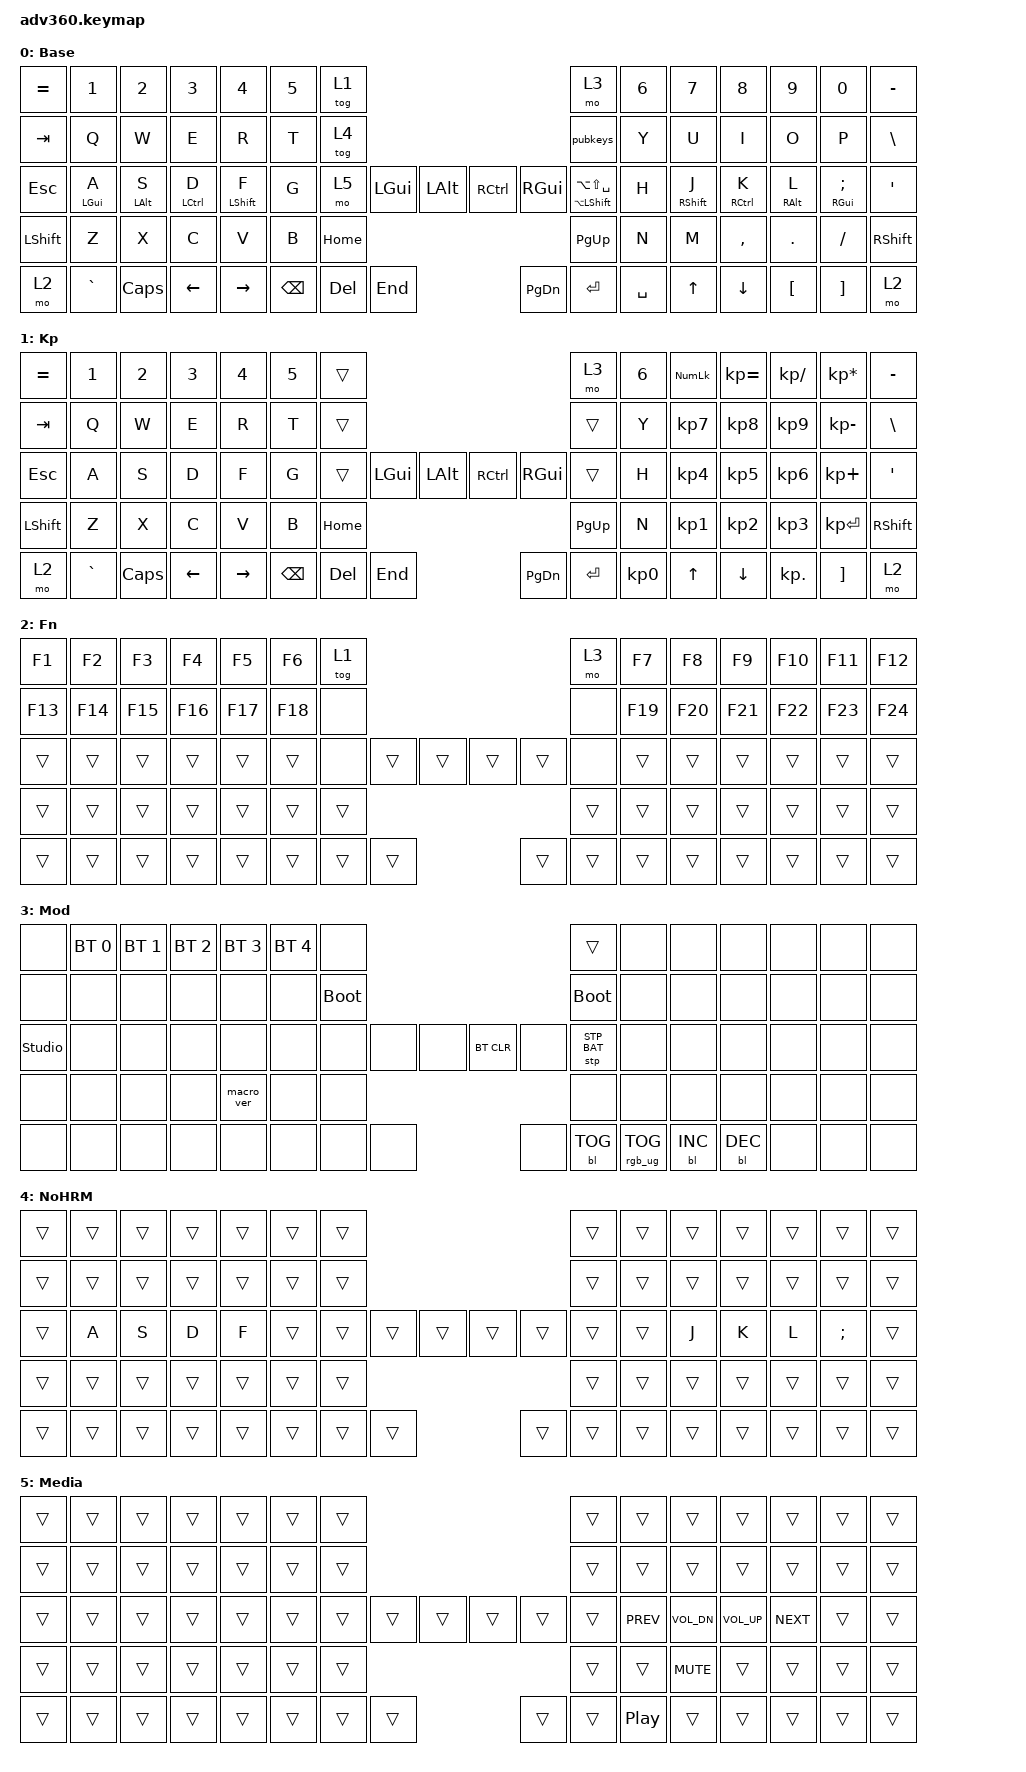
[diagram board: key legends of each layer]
#include <behaviors.dtsi>
#include <dt-bindings/zmk/keys.h>
#include <dt-bindings/zmk/bt.h>
#include <dt-bindings/zmk/rgb.h>
#include <dt-bindings/zmk/stp.h>
#include <dt-bindings/zmk/backlight.h>
#include <dt-bindings/zmk/pointing.h>

/ {
    behaviors {
      #include "macros.dtsi"
      #include "version.dtsi"

      // Home row mods for every finger except the shift keys: the original
      // HRM config, tap-preferred so only a 200 ms hold gives the mod.
      hm: homerow_mods {
          compatible = "zmk,behavior-hold-tap";
          display-name = "Home Row Mod";
          #binding-cells = <2>;
          tapping-term-ms = <200>;
          quick-tap-ms = <175>;
          flavor = "tap-preferred";
          bindings = <&kp>, <&kp>;
      };

      // Shift on F and J resolves faster for quick cross-hand chords.
      hsl: homerow_shift_left {
          compatible = "zmk,behavior-hold-tap";
          display-name = "Home Row Shift Left";
          #binding-cells = <2>;
          tapping-term-ms = <200>;
          quick-tap-ms = <175>;
          require-prior-idle-ms = <125>;
          flavor = "balanced";
          bindings = <&kp>, <&kp>;
          // Hold only with the opposite hand or a thumb key, checked on release
          // so mods on the same hand can still be stacked.
          hold-trigger-key-positions = <7 8 9 10 11 12 13 21 22 23 24 25 26 27 39 40 41 42 43 44 45 54 55 56 57 58 59 71 72 73 74 75 35 36 37 38 52 53 65 66 67 68 69 70>;
          hold-trigger-on-release;
      };

      hsr: homerow_shift_right {
          compatible = "zmk,behavior-hold-tap";
          display-name = "Home Row Shift Right";
          #binding-cells = <2>;
          tapping-term-ms = <200>;
          quick-tap-ms = <175>;
          require-prior-idle-ms = <125>;
          flavor = "balanced";
          bindings = <&kp>, <&kp>;
          // Hold only with the opposite hand or a thumb key, checked on release
          // so mods on the same hand can still be stacked.
          hold-trigger-key-positions = <0 1 2 3 4 5 6 14 15 16 17 18 19 20 28 29 30 31 32 33 34 46 47 48 49 50 51 60 61 62 63 64 35 36 37 38 52 53 65 66 67 68 69 70>;
          hold-trigger-on-release;
      };

      // Push to talk: hold sends Opt+Shift, tap sends Opt+Shift+Space.
      talk: talk_key {
          compatible = "zmk,behavior-hold-tap";
          display-name = "Talk";
          #binding-cells = <2>;
          tapping-term-ms = <200>;
          flavor = "tap-preferred";
          bindings = <&kp>, <&kp>;
      };
    };

  keymap {
    compatible = "zmk,keymap";

    default_layer {
      display-name = "Base";
      bindings = <
        &kp EQUAL &kp N1      &kp N2          &kp N3              &kp N4            &kp N5 &tog 1                                                                      &mo 3         &kp N6 &kp N7              &kp N8               &kp N9           &kp N0              &kp MINUS
        &kp TAB   &kp Q       &kp W           &kp E               &kp R             &kp T  &tog 4                                                                      &pubkeys      &kp Y  &kp U               &kp I                &kp O            &kp P               &kp BSLH
        &kp ESC   &hm LGUI A   &hm LEFT_ALT S  &hm LEFT_CONTROL D  &hsl LEFT_SHIFT F &kp G  &mo 5                 &kp LGUI &kp LALT    &kp RCTRL &kp RGUI               &talk LA(LSHFT) LA(LS(SPACE)) &kp H  &hsr RIGHT_SHIFT J  &hm RIGHT_CONTROL K  &hm RIGHT_ALT L  &hm RIGHT_GUI SEMI &kp SQT
        &kp LSHFT &kp Z       &kp X           &kp C               &kp V             &kp B                                 &kp HOME    &kp PG_UP                                      &kp N  &kp M               &kp COMMA            &kp DOT          &kp FSLH            &kp RSHFT
        &mo 2     &kp GRAVE   &kp CAPS        &kp LEFT            &kp RIGHT                             &kp BSPC &kp DEL &kp END    &kp PG_DN &kp ENTER &kp SPACE                           &kp UP              &kp DOWN             &kp LBKT         &kp RBKT            &mo 2
      >;
    };
    keypad {
      display-name = "Kp";
      bindings = <
        &kp EQUAL &kp N1    &kp N2   &kp N3   &kp N4     &kp N5 &trans                                                           &mo 3 &kp N6 &kp KP_NUM &kp KP_EQUAL &kp KP_DIVIDE &kp KP_MULTIPLY &kp MINUS
        &kp TAB   &kp Q     &kp W    &kp E    &kp R      &kp T  &trans                                                           &trans &kp Y  &kp KP_N7  &kp KP_N8    &kp KP_N9     &kp KP_MINUS    &kp BSLH
        &kp ESC   &kp A     &kp S    &kp D    &kp F      &kp G  &trans          &kp LGUI  &kp LALT &kp RCTRL &kp RGUI            &trans &kp H  &kp KP_N4  &kp KP_N5    &kp KP_N6     &kp KP_PLUS     &kp SQT
        &kp LSHFT &kp Z     &kp X    &kp C    &kp V      &kp B                            &kp HOME &kp PG_UP                           &kp N  &kp KP_N1  &kp KP_N2    &kp KP_N3     &kp KP_ENTER    &kp RSHFT
        &mo 2     &kp GRAVE &kp CAPS &kp LEFT &kp RIGHT                &kp BSPC &kp DEL   &kp END  &kp PG_DN &kp ENTER &kp KP_N0              &kp UP     &kp DOWN     &kp KP_DOT    &kp RBKT        &mo 2
      >;
    };
    fn {
      display-name = "Fn";
      bindings = <
        &kp F1  &kp F2  &kp F3  &kp F4  &kp F5  &kp F6  &tog 1                                     &mo 3 &kp F7  &kp F8  &kp F9  &kp F10 &kp F11 &kp F12
        &kp F13 &kp F14 &kp F15 &kp F16 &kp F17 &kp F18 &none                                      &none &kp F19 &kp F20 &kp F21 &kp F22 &kp F23 &kp F24
        &trans &trans &trans &trans &trans &trans  &none        &trans &trans &trans &trans        &none &trans &trans &trans &trans  &trans  &trans
        &trans &trans &trans &trans &trans &trans                      &trans &trans                     &trans &trans &trans &trans  &trans  &trans
        &trans &trans &trans &trans &trans               &trans &trans &trans &trans &trans &trans              &trans &trans &trans  &trans  &trans
      >;
    };
    mod {
      display-name = "Mod";
      bindings = <
        &none &bt BT_SEL 0 &bt BT_SEL 1 &bt BT_SEL 2 &bt BT_SEL 3 &bt BT_SEL 4 &none                                                                     &trans                 &none        &none        &none        &none &none &none
        &none &none        &none        &none        &none        &none        &bootloader                                                               &bootloader            &none        &none        &none        &none &none &none
        &studio_unlock &none        &none        &none        &none        &none        &none                   &none &none &bt BT_CLR &none                      &stp STP_BAT &none        &none        &none        &none &none &none
        &none &none        &none        &none        &macro_ver   &none                                      &none &none                                                        &none        &none        &none        &none &none &none
        &none &none        &none        &none        &none                                       &none &none &none &none      &bl BL_TOG &rgb_ug RGB_TOG                                     &bl BL_INC   &bl BL_DEC   &none &none &none
      >;
    };
    // HRM lives on Base. Turning this layer on is what disables it.
    // Keep it below Media so the media keys still win on the home row.
    no_hrm {
      display-name = "NoHRM";
      bindings = <
        &trans &trans &trans &trans &trans &trans &trans                                           &trans &trans &trans &trans &trans &trans   &trans
        &trans &trans &trans &trans &trans &trans &trans                                           &trans &trans &trans &trans &trans &trans   &trans
        &trans &kp A  &kp S  &kp D  &kp F  &trans &trans        &trans &trans &trans &trans        &trans &trans &kp J  &kp K  &kp L  &kp SEMI &trans
        &trans &trans &trans &trans &trans &trans                      &trans &trans                      &trans &trans &trans &trans &trans   &trans
        &trans &trans &trans &trans &trans               &trans &trans &trans &trans &trans &trans               &trans &trans &trans &trans   &trans
      >;
    };
    media {
      display-name = "Media";
      bindings = <
        &trans &trans &trans &trans &trans &trans &trans                                           &trans &trans &trans &trans &trans &trans &trans
        &trans &trans &trans &trans &trans &trans &trans                                           &trans &trans &trans &trans &trans &trans &trans
        &trans &trans &trans &trans &trans &trans &trans        &trans &trans &trans &trans        &trans &kp C_PREV &kp C_VOL_DN &kp C_VOL_UP &kp C_NEXT &trans &trans
        &trans &trans &trans &trans &trans &trans                      &trans &trans                      &trans &kp C_MUTE &trans &trans &trans &trans
        &trans &trans &trans &trans &trans               &trans &trans &trans &trans &trans &kp C_PP               &trans &trans &trans &trans &trans
      >;
    };

    extra3 { 
      display-name = "Cyan";    
      status = "reserved";
    };

    extra4 { 
      display-name = "Yellow";    
      status = "reserved";
    };
  };
};
